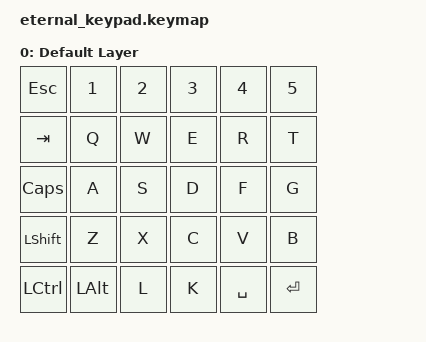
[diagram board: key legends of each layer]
/*
 * Copyright (c) 2022 The ZMK Contributors
 *
 * SPDX-License-Identifier: MIT
 */

#include <behaviors.dtsi>
#include <dt-bindings/zmk/keys.h>
#include <dt-bindings/zmk/bt.h>
#include <dt-bindings/zmk/outputs.h>
#include <dt-bindings/zmk/ext_power.h>
#include <dt-bindings/zmk/reset.h>

/ {
    keymap {
        compatible = "zmk,keymap";

        default_layer {
          display-name = "Default Layer";
          bindings = <
            &kp ESC   &kp N1    &kp N2   &kp N3    &kp N4     &kp N5
            &kp TAB   &kp Q     &kp W    &kp E     &kp R      &kp T
            &kp CAPS  &kp A     &kp S    &kp D     &kp F      &kp G
            &kp LSHFT &kp Z     &kp X    &kp C     &kp V      &kp B
            &kp LCTRL &kp LALT  &kp L    &kp K     &kp SPACE  &kp ENTER
          >;
        };
    };
};
